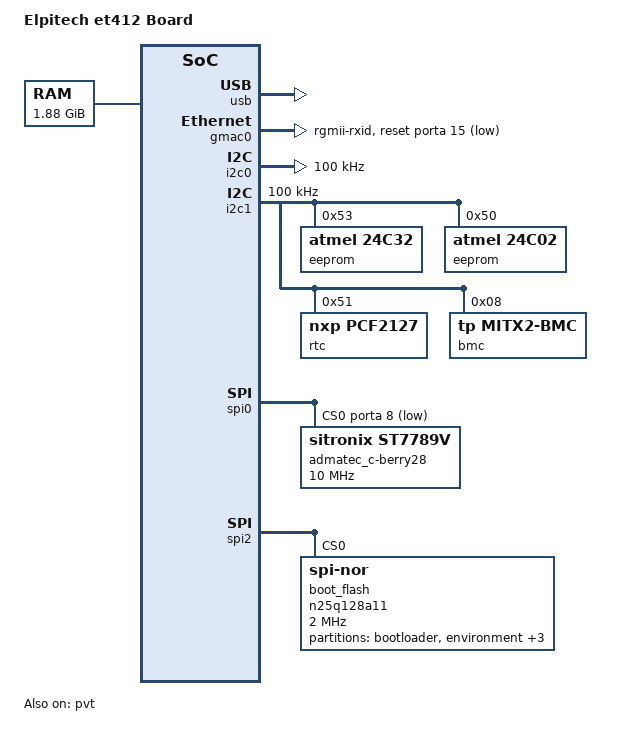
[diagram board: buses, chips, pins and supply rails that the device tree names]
/*
 * Elpitech et412 board device tree.
 */

#include <dt-bindings/interrupt-controller/mips-gic.h>
#include <dt-bindings/gpio/gpio.h>

/dts-v1/;

#include "baikal_t1_soc.dtsi"

/ {
	model = "Elpitech et412 Board";
	compatible = "baikal,mips", "baikal,baikal-t1-soc";
	#address-cells = <2>;
	#size-cells = <2>;
	interrupt-parent = <&gic>;

	chosen {
		bootargs = "root=/dev/ram rw console=ttyS0,115200n8 earlyprintk=uart8250,mmio32,0x1F04A000,115200 nohtw";
		linux,initrd-start = <0 0x01000000>;
		linux,initrd-end   = <0 0x02000000>;
	};

	memory {
		device_type = "memory";
		reg = <0 0x00000000 0 0x08000000>,
		      <0 0x20000000 0 0x70000000>;
	};

};

&usb {
	status = "okay";
};

&gmac0 {
	status = "okay";
	snps,reset-gpio = <&porta 15 GPIO_ACTIVE_LOW>;
	snps,reset-active-low;
	snps,reset-delays-us = <10>, <10000>, <50000>;
	phy-mode = "rgmii-rxid";
};

&gpio {
	status = "okay";
};

&gpio3 {
	status = "okay";
};

&i2c0 {
	status = "okay";
	clock-frequency = <100000>;
};

&i2c1 {
	status = "okay";
	clock-frequency = <100000>;

	eeprom@53 {
		compatible = "atmel,24c32";
		pagesize = <32>;
		reg = <0x53>;
	};

	eeprom@50 {
		compatible = "atmel,24c02";
		pagesize = <16>;
		reg = <0x50>;
	};

	rtc@51 {
		compatible = "nxp,pcf2127", "pcf2127-rtc";
		reg = <0x51>;
	};

	bmc@8 {
		compatible = "tp,mitx2-bmc", "t-platforms,mitx2-bmc";
		reg = <0x08>;
	};
};

&spi0 {
	num-cs = <1>;
	cs-gpios = <&porta 8 GPIO_ACTIVE_LOW>;
	status = "okay";
	admatec_c-berry28@0 {
		compatible = "sitronix,st7789v";
		reg = <0x0>;
		spi-max-frequency = <10000000>;
		rotate = <90>;
		fps = <25>;
		gr;
		buswidth = <0x9>;
		debug = <0>;
	};
};

&spi2 {
	status = "okay";
	num-cs = <1>;

	boot_flash: n25q128a11@0 {
		#address-cells = <1>;
		#size-cells = <1>;
		compatible = "jedec,spi-nor";
		reg = <0>;
		spi-max-frequency = <2000000>;
		m25p,fast-read;

		partition@0 {
			label = "bootloader";
			reg = <0x0 0xE0000>;
			read-only;
		};

		partition@1 {
			label = "environment";
			reg = <0xE0000 0x10000>;
		};

		partition@2 {
			label = "information";
			reg = <0xF0000 0x10000>;
			read-only;
		};

		partition@3 {
			label = "multiimage";
			reg = <0x100000 0xF00000>;
			read-only;
		};

		partition@4 {
			label = "firmware";
			reg = <0x0 0x1000000>;
		};
	};
};

&pvt {
	status = "okay";
};
